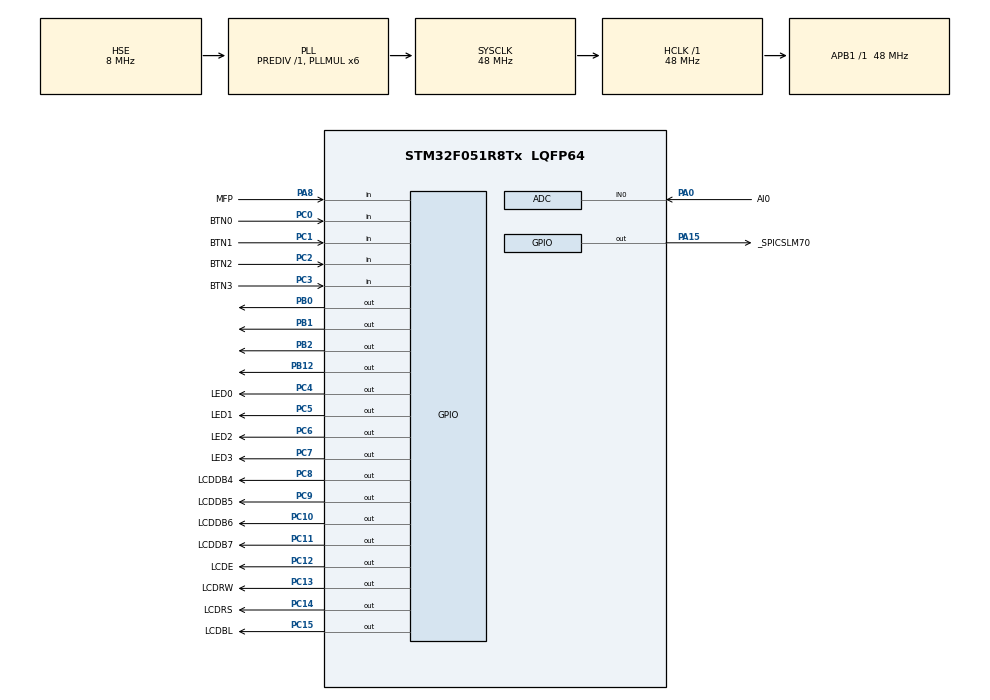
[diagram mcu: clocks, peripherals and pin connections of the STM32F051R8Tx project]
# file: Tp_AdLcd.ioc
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Mcu.Family=STM32F0
Mcu.Name=STM32F051R8Tx
Mcu.Package=LQFP64
NVIC.TIM6_DAC_IRQn=true\:0\:0\:false\:false\:true\:true\:true
PA0.GPIO_Label=AI0
PA0.Mode=IN0
PA0.Signal=ADC_IN0
PA10.GPIO_Label=USART1RX
PA10.Signal=USART1_RX
PA11.GPIO_Label=USART1CTS
PA11.Signal=USART1_CTS
PA12.GPIO_Label=USART1RTS
PA12.Signal=USART1_RTS
PA13.Mode=Serial_Wire
PA13.Signal=SYS_SWDIO
PA14.Mode=Serial_Wire
PA14.Signal=SYS_SWCLK
PA15.GPIO_Label=_SPICSLM70
PA15.PinState=GPIO_PIN_SET
PA15.Signal=GPIO_Output
PA5.GPIO_Label=SPISCK
PA5.Signal=SPI1_SCK
PA6.GPIO_Label=SPIMISO
PA6.Signal=SPI1_MISO
PA7.GPIO_Label=SPIMOSI
PA7.Signal=SPI1_MOSI
PA8.GPIO_Label=MFP
PA8.Signal=GPIO_Input
PA9.GPIO_Label=USART1TX
PA9.Signal=USART1_TX
PB0.Signal=GPIO_Output
PB1.Signal=GPIO_Output
PB12.Signal=GPIO_Output
PB2.Signal=GPIO_Output
PC0.GPIO_Label=BTN0
PC0.Signal=GPIO_Input
PC1.GPIO_Label=BTN1
PC1.Signal=GPIO_Input
PC10.GPIO_Label=LCDDB6
PC10.Signal=GPIO_Output
PC11.GPIO_Label=LCDDB7
PC11.Signal=GPIO_Output
PC12.GPIO_Label=LCDE
PC12.Signal=GPIO_Output
PC13.GPIO_Label=LCDRW
PC13.Signal=GPIO_Output
PC14-OSC32_IN.GPIO_Label=LCDRS
PC14-OSC32_IN.Signal=GPIO_Output
PC15-OSC32_OUT.GPIO_Label=LCDBL
PC15-OSC32_OUT.Signal=GPIO_Output
PC2.GPIO_Label=BTN2
PC2.Signal=GPIO_Input
PC3.GPIO_Label=BTN3
PC3.Signal=GPIO_Input
PC4.GPIO_Label=LED0
PC4.PinState=GPIO_PIN_SET
PC4.Signal=GPIO_Output
PC5.GPIO_Label=LED1
PC5.PinState=GPIO_PIN_SET
PC5.Signal=GPIO_Output
PC6.GPIO_Label=LED2
PC6.PinState=GPIO_PIN_SET
PC6.Signal=GPIO_Output
PC7.GPIO_Label=LED3
PC7.PinState=GPIO_PIN_SET
PC7.Signal=GPIO_Output
PC8.GPIO_Label=LCDDB4
PC8.Signal=GPIO_Output
PC9.GPIO_Label=LCDDB5
PC9.Signal=GPIO_Output
PF0-OSC_IN.GPIO_Label=OSCIN
PF0-OSC_IN.Mode=HSE-External-Oscillator
PF0-OSC_IN.Signal=RCC_OSC_IN
PF1-OSC_OUT.GPIO_Label=OSCOUT
PF1-OSC_OUT.Mode=HSE-External-Oscillator
PF1-OSC_OUT.Signal=RCC_OSC_OUT
PF6.Signal=I2C2_SCL
PF7.Signal=I2C2_SDA
ProjectManager.HeapSize=0x200
ProjectManager.StackSize=0x400
ProjectManager.TargetToolchain=MDK-ARM V5
RCC.AHBFreq_Value=48000000
RCC.APB1Freq_Value=48000000
RCC.APB1TimFreq_Value=48000000
RCC.EnbaleCSS=true
RCC.HCLKFreq_Value=48000000
RCC.PLLMUL=RCC_PLL_MUL6
RCC.PLLSourceVirtual=RCC_PLLSOURCE_HSE
RCC.SYSCLKFreq_VALUE=48000000
RCC.SYSCLKSource=RCC_SYSCLKSOURCE_PLLCLK
TIM6.AutoReloadPreload=TIM_AUTORELOAD_PRELOAD_ENABLE
TIM6.Period=49
TIM6.Prescaler=0x12BF
VP_TIM6_VS_ClockSourceINT.Mode=Enable_Timer
board=test01_blink

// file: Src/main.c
/* USER CODE BEGIN Header */
/**
  ******************************************************************************
  * @file           : main.c
  * @brief          : Main program body
  ******************************************************************************
  * @attention
  *
  * <h2><center>&copy; Copyright (c) 2020 STMicroelectronics.
  * All rights reserved.</center></h2>
  *
  * This software component is licensed by ST under BSD 3-Clause license,
  * the "License"; You may not use this file except in compliance with the
  * License. You may obtain a copy of the License at:
  *                        opensource.org/licenses/BSD-3-Clause
  *
  ******************************************************************************
  */
/* USER CODE END Header */
#include "main.h"
#include "adc.h"
#include "tim.h"
#include "gpio.h"

/* USER CODE BEGIN Includes */

#include "17400.h"
#include "stm32delays.h"
#include "stm32driverlcd.h"
#include "time.h"
#include "stm32f0xx_it.h"

/* USER CODE END Includes */

/* USER CODE BEGIN PV */
uint16_t valVref_mV=3300;
e_States  state;
e_States *pt_state =  &state;
int8_t digit = 1;
int8_t *pt_digit  = &digit;
bool firstTime = true;
bool *pt_firstTime=&firstTime;
bool flagCalibrage = false;

bool *pt_flagCalibrage=&flagCalibrage;
uint16_t calibrationValue = 3300;
/* USER CODE END PV */

void SystemClock_Config(void);

/* USER CODE BEGIN 0 */

// ----------------------------------------------------------------
// Conversion tension de LSB en mV. Itilise la variable globale "valVref_mV"
// 0 -> 0 mV
// 4095 -> 3300 mV
uint16_t ConvAdcMilliVolt(uint16_t nLsb)
{
		//conversion du nombre de pas en mV
		//modif calcul pour utilisation de val ref + pas d'utilisation de float donc * 100
		//rester avec resultats entier
		// engendre une erreur (apres la , dans le calcul)
		return ((((((valVref_mV*100)/ADCMAXVAL))*nLsb))/100);
}

// ----------------------------------------------------------------
// Conversion de mV en chaine de caractères (ou structure) exprimée
// en V sur nDigits digits. Prévu pour tension entre 0 et 3,3V (=> u_mV entre 0 et 3300).
// La sortie contiendra donc unité + évt point décimal, dixièmes, centièmes, millièmes,
//  selon le nb de digits demandés.
char ConvMilliVoltVolt(uint16_t u_mV, uint8_t nDigits, char* str_V /* *** OU STRUCTURE *** */)
{
	int tableau[4] = {0,0,0,0};
	int index = nDigits - 1;

	for (int i = 0; i < sizeof(str_V); i++)
	{
    str_V[i] = '\0'; // Initialise chaque caractère à '\0' (fin de chaîne)
	}

	// Remplir le tableau avec les chiffres du nombre, en partant de la fin
	for (int i = 3; i >= 0; i--)
	{
		tableau[i] = u_mV % 10;
		u_mV /= 10;
	}

	// Gérer l'arrondi
	if (nDigits < 4 && tableau[nDigits] >= 5)
	{
		// Arrondir
		tableau[index]++;
		while (index > 0 && tableau[index] == 10)
		{
			// Report si nécessaire
			tableau[index] = 0;
			index--;
			tableau[index]++;
		}

		// Gérer le cas où le premier chiffre devient 10 après l'arrondi
		if (index == 0 && tableau[index] == 10)
		{
			tableau[index] = 1;
			for (int i = 1; i < 4; i++)
			{
				tableau[i] = 0;
			}
			// Cela signifie que nous avons maintenant un chiffre supplémentaire à afficher
			if (nDigits > 1)
			{
				nDigits++;
			}
		}
	}

	// Le premier chiffre avant la virgule décimale
	str_V[0] = '0' + tableau[0];

	if (nDigits > 1)
	{
		// Insérer le point décimal après le premier chiffre
		str_V[1] = '.';
		// Remplir les chiffres
		for (int i = 1; i <= (nDigits); ++i)
		{
			str_V[i + 1] = '0' + tableau[i]; // i+1 pour prendre en compte le point décimal
		}
	}

	// Ajouter le caractère nul pour terminer la chaîne de caractere
	//+1 le dernier caractere
	str_V[nDigits + 1] = '\0';
	return 0;
}

// ----------------------------------------------------------------
// *** ADC ***

// Lecture d'un canal AD par polling
// Il faut auparavant avoir configuré la/les pin(s) concernée(s) en entrée analogique
uint16_t Adc_read(uint8_t chNr)
{
	//démarage périph
	HAL_ADC_Start(&hadc);
	//calibration ADC
	HAL_ADCEx_Calibration_Start(&hadc);

	if(!HAL_ADC_PollForConversion(&hadc,5))
	{//timeout 5ms
		return HAL_ADC_GetValue(&hadc);
	}
	//a= (&hadc)->Instance->DR;
	HAL_ADC_Stop(&hadc);
	return 0;
}

void SetStatus(void)
//Cette fonction change l'état de la machine d'état lors de son appel
{

	switch (*pt_state)
	{
		case INIT:
			GPIOC -> ODR |= LEDS;
			*pt_state = EXEC;
			break;
		case EXEC:
			*pt_state = IDLE;
			HAL_GPIO_TogglePin(GPIOB, GPIO_PIN_12);
			break;
		case IDLE:
			*pt_state = EXEC;
			break;
	  default:
			break;
	}
}
void GetTimeFlag(char *tb_portEntree)
//cette fonction vérifie si le flag de 5ms est actif pour calculer les timmings demander
//de plus la lecture des entré est faite lorsque que le flag est actif ce qui permet d'avoir
//une base de temps pour les echantillons du buffer d'entrée au détriment du temps de réaction
{
	static bool InitialisationHasOccured = false;
	static uint16_t cntTime =0;
	//test du flag
	if(flag5Ms)
	{
		//incrémetn compteur de temps
		cntTime++;
		//si le flag d'initialisatione a eu lieu  est actif
		if (InitialisationHasOccured)
		{
			// le temps a compter est 50ms
			if (cntTime>=_50MSEC)
			{
				//appel de la fonction pour changer d'état
				SetStatus();
				//remise à 0 du cnt de temps
				cntTime=0;
			}
		}
		else
		{
			//autrement l'initialisation dure 3s
			if (cntTime>=_3SEC)
			{
				//appel de la fonction pour changer d'état
				SetStatus();
				//remise à 0 du cnt de temps
				cntTime=0;
				//set du flag d'initialisatione a eu lieu : actif
				InitialisationHasOccured=true;
			}
		}
		//appel de la fonction de lecture d'entrée
		readInput(tb_portEntree);
	}
	//remise à 0 du flag te temps
	flag5Ms=false;

}
void initialisation(void)
//Affichage durant l'initialisation partie LCD
{
	GPIOC -> ODR &= ~LEDS;
	printf_lcd("TP AdLcd <2024>");
	lcd_gotoxy(1,2);
	printf_lcd("ACL NBN");
	lcd_gotoxy(1,1);
	lcd_bl_on();
}

void InputActions(char *tb_portEntree)
{
	//Annalyse buffer entrée
		char i;
		char cntflanc=0;
		char edgeUp = 0;
		char edgeDown =0;
	  uint32_t a=2;

		//balayage du tableau
		for (i=0; i<_500MSEC; i++ )
		{
			//si la case est différente de la suivante
			if (tb_portEntree[i] != tb_portEntree[(i+1)])
			{
				//test si premier flanc
				if(cntflanc)
				{
					//save n° case de tableau
					edgeDown =i;

				}
				else
				{
					// save n° case de tableau
					edgeUp = i;
					cntflanc++;
				}
			}
		}
		//le temps dappuis se trouve entre les flanc (nbcases*Tempsentrechaquecase)
		//Test pour pulse temps actif moin 500ms et pas 0
		if (((edgeDown - edgeUp) != 0)&& edgeDown)
		{

			//Fonction des switch actif incrément ou décrémente le mode ou la base de temps ou les DEU
			// Gestion 2 touche appuyee en mm temps
			switch (~(tb_portEntree[edgeDown])&0x0F)
			{
				case S2 :
					//change l'état du flag pour la deuxieme ligne / premier appuis sur btn0
					*pt_firstTime =!(*pt_firstTime);
					//selon létat du flag allume led 0 ou éteind toutes
					if(*pt_firstTime){
					//si ligne 2 désactivée remet digit a 1
					GPIOC -> ODR |= (LEDS);
//<<<<<<< HEAD
					*pt_digit=1;
//=======
					//*pt_digit =1;
//>>>>>>> 50e94f66f29a522b5688fe25c3a407d936185a69
					}
					else{
					GPIOC -> ODR &= ~LED0;
					}
					//pas besoin de tester mais chaque appuis fait sortir de la calibration
					flagCalibrage = false;

					break;

				case S3 :
					//si en mode calib
					if(flagCalibrage)
					{
						//décrémente
						calibrationValue -=5;

					}
					else

					{
						//si ligne 2 active
						if (!*pt_firstTime)
						{
							//test limites valeurs digits
							if(*pt_digit>1)
							{
								//décrémente
								*pt_digit -= 1 ;
								//************************************
								//traitement de leds
								for(int i=1;i<=*pt_digit;i++)
								{
									a *=2;
								}
								GPIOC -> ODR |= (((a)/2)<<4);
							}
						}
					}

					break;

				case S4 :
					//si en mode calib
					if(flagCalibrage)
					{
						//incrémente
						calibrationValue +=5;

					}
					else
					{
						//si ligne 2 active
						if(!*pt_firstTime)
						{
							//test limites valeurs digits
							if(*pt_digit < 4)
							{
								//incrémente
								*pt_digit += 1 ;
								//************************************
								//traitement de leds
								for(int i=1;i<*pt_digit;i++)
								{
									a *=2;
								}
								GPIOC -> ODR &= ~(((a)/2)<<4);
							}
						}
					}
					break;

				case S5 :
					//pas besoin de tester mais chaque appuis fait sortir de la calibration
					flagCalibrage = false;
					//set la nouvelle valeure de calib
					valVref_mV = calibrationValue;
					break;

				default:
					break;
			}
		}
		else
		{
			//test si un le premer flanc lors de l'appuis est apparus mais pas le deuxieme
			//--> plus de 500ms appuyer
			if(edgeUp && !edgeDown)
			{
				//test pour savoir quelle touche
			   switch (~(tb_portEntree[edgeDown])&0x0F)
				 {
						case S2 :
							//"active la calibration "
							flagCalibrage = true;
							//reset de la valeur de calibration
							calibrationValue = 3300;
							break;
				 }
			}
		}

}
void readInput(char *tb_portEntree)
// cette fonction remplis toute les 5ms une case du tableau avec le port d'entrée
//une fois plein le tableau est annalyser, la taille du tableau est faite pour les limites cdc 500ms
{

		static uint16_t i=0;
		//test pour pas déborder
		if(i<=_500MSEC)
		{
			//remplissage du tableau
			tb_portEntree[i+1] = tb_portEntree[i];
			tb_portEntree[i] = GPIOC-> IDR & 0x0F;
			i++;
		}
		else
		{
			i=0;
			//Buffer plein annalyse
			InputActions(tb_portEntree);
		}
}

void exec(char *tb_portEntree,char *str_V)
{
				static uint16_t valueAdc;
				//clean de la ligne
				lcd_clearLine(2);
				lcd_gotoxy(1,0);
				//lecture de lla valeure du potentiometre
				valueAdc=Adc_read(0);
				//affichage de la valeur
				printf_lcd("AI0 :%d / %d mv ",valueAdc,ConvAdcMilliVolt(valueAdc));

				//test si ligne 2 inactive
				if (*pt_firstTime)
				{
					//nettoye la ligne
					lcd_clearLine(2);
				}
				else
				{
					//si le mode calibration est actif
					if(flagCalibrage)
					{
						//-----affichage mode calib*********
						lcd_gotoxy(1,0);
						printf_lcd("*** Calibration *** ");
						lcd_gotoxy(1,2);
						printf_lcd("%d",calibrationValue);
					}
					else
					{
						//-----affichage mode normal*********
					  ConvMilliVoltVolt(ConvAdcMilliVolt(valueAdc), *pt_digit, str_V); // Exemple d'utilisation
						lcd_clearLine(2);
						lcd_gotoxy(1,2);
						printf_lcd("%s V",str_V);
					}
				}
				//appel fct pour repartir en IDLE
				SetStatus();
}

// ----------------------------------------------------------------

/* USER CODE END 0 */

int main(void)
{
  /* USER CODE BEGIN 1 */
	//variables
	char str_V[20]={0};
	state = INIT;
	char tb_portEntree[_500MSEC] = {NULL};

  /* USER CODE END 1 */

  /* MCU Configuration--------------------------------------------------------*/

  /* Reset of all peripherals, Initializes the Flash interface and the Systick. */
  HAL_Init();

  /* Configure the system clock */
  SystemClock_Config();

  /* Initialize all configured peripherals */
  MX_GPIO_Init();
  MX_TIM6_Init();
  MX_ADC_Init();
  /* USER CODE BEGIN 2 */
	HAL_TIM_Base_Start_IT(&htim6);
	lcd_init();
  /* USER CODE END 2 */

  /* Infinite loop */
  while (1)
  {

    /* USER CODE BEGIN 3 */

		switch(state)
		{
			case INIT:
				initialisation();
				break;
			case EXEC:

				exec(tb_portEntree,str_V);
				break;
			case IDLE:
				break;
			default:
				break;
		}
		//appel fct pour base de temps et donc lecture des entrée d'ou le tableau en paramètres
		GetTimeFlag(tb_portEntree);
  }
  /* USER CODE END 3 */
}

void SystemClock_Config(void)
{
  RCC_OscInitTypeDef RCC_OscInitStruct = {0};
  RCC_ClkInitTypeDef RCC_ClkInitStruct = {0};

  /** Initializes the RCC Oscillators according to the specified parameters
  * in the RCC_OscInitTypeDef structure.
  */
  RCC_OscInitStruct.OscillatorType = RCC_OSCILLATORTYPE_HSI14|RCC_OSCILLATORTYPE_HSE;
  RCC_OscInitStruct.HSEState = RCC_HSE_ON;
  RCC_OscInitStruct.HSI14State = RCC_HSI14_ON;
  RCC_OscInitStruct.HSI14CalibrationValue = 16;
  RCC_OscInitStruct.PLL.PLLState = RCC_PLL_ON;
  RCC_OscInitStruct.PLL.PLLSource = RCC_PLLSOURCE_HSE;
  RCC_OscInitStruct.PLL.PLLMUL = RCC_PLL_MUL6;
  RCC_OscInitStruct.PLL.PREDIV = RCC_PREDIV_DIV1;
  if (HAL_RCC_OscConfig(&RCC_OscInitStruct) != HAL_OK)
  {
    Error_Handler();
  }
  /** Initializes the CPU, AHB and APB buses clocks
  */
  RCC_ClkInitStruct.ClockType = RCC_CLOCKTYPE_HCLK|RCC_CLOCKTYPE_SYSCLK
                              |RCC_CLOCKTYPE_PCLK1;
  RCC_ClkInitStruct.SYSCLKSource = RCC_SYSCLKSOURCE_PLLCLK;
  RCC_ClkInitStruct.AHBCLKDivider = RCC_SYSCLK_DIV1;
  RCC_ClkInitStruct.APB1CLKDivider = RCC_HCLK_DIV1;

  if (HAL_RCC_ClockConfig(&RCC_ClkInitStruct, FLASH_LATENCY_1) != HAL_OK)
  {
    Error_Handler();
  }
  /** Enables the Clock Security System
  */
  HAL_RCC_EnableCSS();
}

void Error_Handler(void)
{
}

/************************ (C) COPYRIGHT STMicroelectronics *****END OF FILE****/
